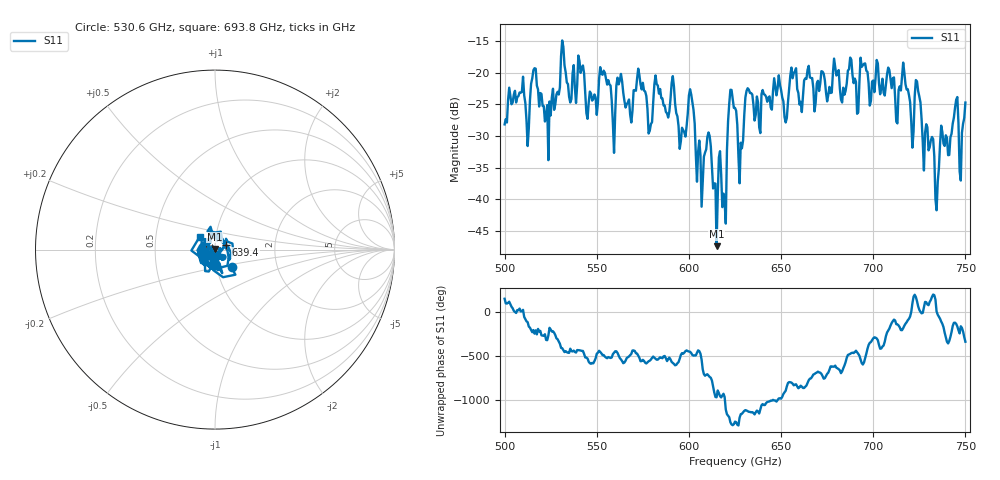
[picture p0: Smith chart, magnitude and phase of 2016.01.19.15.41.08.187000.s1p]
!Created with skrf (http://scikit-rf.org).
# GHz S RI R 50.0
!freq ReS11 ImS11
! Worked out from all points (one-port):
!   401 points, 500 GHz to 750 GHz, reference 50 ohm
!   lowest |S11| = -47.4 dB at 615 GHz (marker M1), VSWR 1.01, Z = 49.8 + j0.385 ohm
!   |S11| at or under -10 dB: start of sweep to end of sweep
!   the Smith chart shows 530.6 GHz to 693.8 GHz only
!   S11 on the Smith chart (normalised r, x): 530.6 GHz: 1.18, -0.24; 639.4 GHz: 1.13, +0.06; 693.8 GHz: 0.83, +0.12
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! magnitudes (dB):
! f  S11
! 500 GHz  -28.2
! 512.5 GHz  -31.6
! 515.6 GHz  -19.6
! 523.1 GHz  -25.1
! 530.6 GHz  -17.4
! 531.2 GHz  -14.9
! 545 GHz  -27.3
! 553.1 GHz  -20.3
! 558.8 GHz  -28.0
! 562.5 GHz  -21.2
! 593.8 GHz  -26.9
! 601.2 GHz  -23.4
! 605.6 GHz  -30.7
! 610.6 GHz  -29.4
! 615 GHz  -47.4
! 619.4 GHz  -40.5
! 622.5 GHz  -22.7
! 625 GHz  -25.6
! 628.1 GHz  -31.1
! 631.9 GHz  -22.4
! 639.4 GHz  -23.4
! 656.2 GHz  -20.9
! 687.5 GHz  -17.6
! 693.8 GHz  -19.1
! 718.8 GHz  -22.6
! 724.4 GHz  -22.9
! 734.4 GHz  -41.8
! 750 GHz  -24.7
